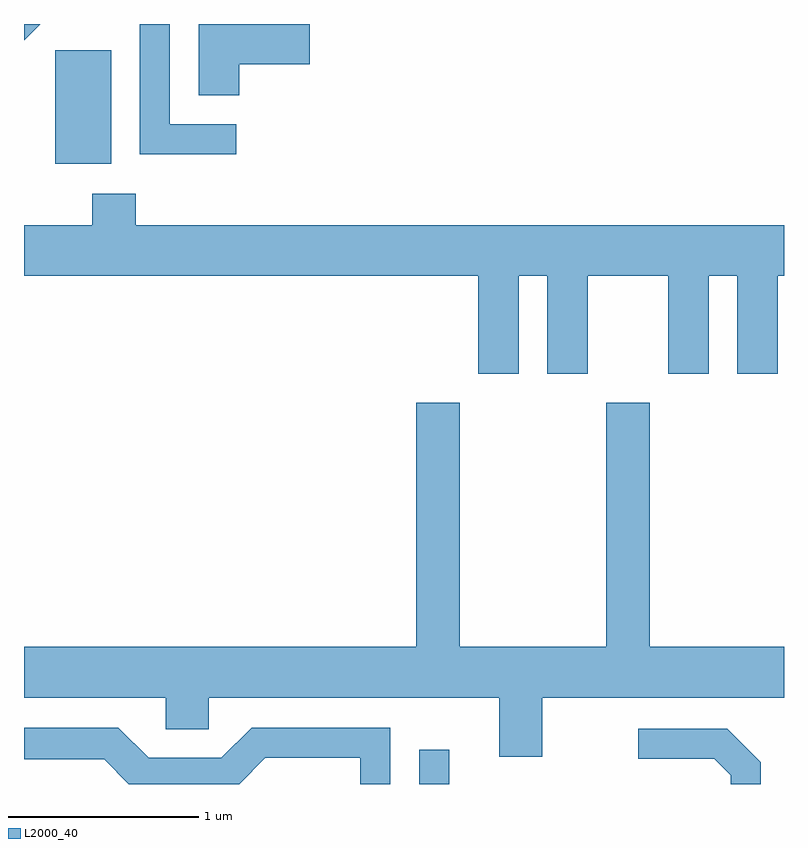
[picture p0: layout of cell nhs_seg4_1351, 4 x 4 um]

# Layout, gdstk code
import gdstk
lib = gdstk.Library(unit=1e-6, precision=1e-09)
def R(c, l, rs):  # rectangles x0, y0, x1, y1
    for r in rs: c.add(gdstk.rectangle(r[:2], r[2:], *l))
def P(c, l, *ps):  # polygons
    for p in ps: c.add(gdstk.Polygon(p, *l))
L2000_40 = (2000, 40)

nhs_seg4_1351 = lib.new_cell('nhs_seg4_1351')
R(nhs_seg4_1351, L2000_40, [(225.691,1371.982,225.849,1372.163), (223.776,1375.246,224.069,1375.844)])
P(nhs_seg4_1351, L2000_40, [(224.744,1375.771),(225.114,1375.771),(225.114,1375.982),(224.531,1375.982),(224.531,1375.606),(224.744,1375.606)],
  [(223.697,1375.982),(223.611,1375.982),(223.611,1375.896)],
  [(224.728,1375.454),(224.379,1375.454),(224.379,1375.982),(224.221,1375.982),(224.221,1375.296),(224.728,1375.296)],
  [(226.214,1374.656),(226.366,1374.656),(226.366,1374.141),(226.579,1374.141),(226.579,1374.656),(227.001,1374.656),(227.001,1374.141),(227.214,1374.141),(227.214,1374.656),(227.366,1374.656),(227.366,1374.141),(227.579,1374.141),(227.579,1374.656),(227.611,1374.656),(227.611,1374.924),(224.199,1374.924),(224.199,1375.089),(223.971,1375.089),(223.971,1374.924),(223.611,1374.924),(223.611,1374.656),(226.001,1374.656),(226.001,1374.141),(226.214,1374.141)],
  [(226.339,1372.436),(227.611,1372.436),(227.611,1372.704),(226.904,1372.704),(226.904,1373.989),(226.676,1373.989),(226.676,1372.704),(225.904,1372.704),(225.904,1373.989),(225.676,1373.989),(225.676,1372.704),(223.611,1372.704),(223.611,1372.436),(224.356,1372.436),(224.356,1372.271),(224.584,1372.271),(224.584,1372.436),(226.111,1372.436),(226.111,1372.126),(226.339,1372.126)],
  [(224.882,1372.121),(225.381,1372.121),(225.381,1371.982),(225.539,1371.982),(225.539,1372.279),(224.809,1372.279),(224.649,1372.119),(224.267,1372.119),(224.107,1372.279),(223.611,1372.279),(223.611,1372.111),(224.034,1372.111),(224.163,1371.982),(224.743,1371.982)],
  [(227.489,1372.097),(227.312,1372.274),(226.843,1372.274),(226.843,1372.116),(227.244,1372.116),(227.331,1372.029),(227.331,1371.982),(227.489,1371.982)])

lib.write_gds('nhs_seg4_1351.gds')
